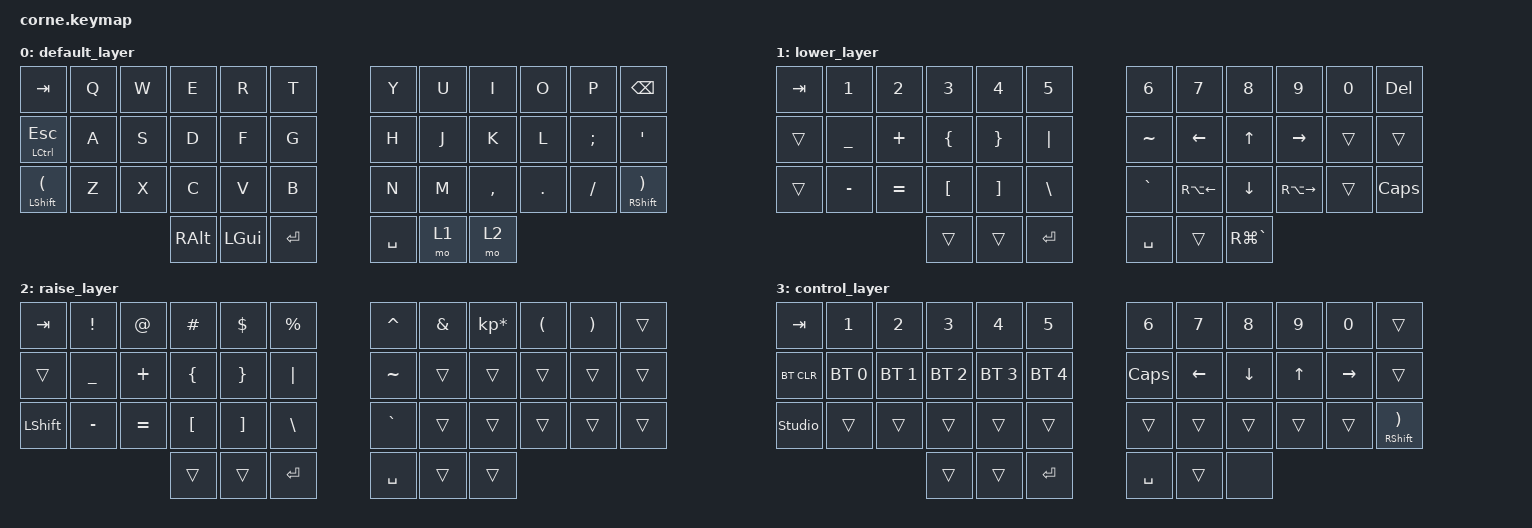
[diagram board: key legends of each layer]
/*
 * Copyright (c) 2020 The ZMK Contributors
 *
 * SPDX-License-Identifier: MIT
 */

#include <behaviors.dtsi>
#include <dt-bindings/zmk/keys.h>
#include <dt-bindings/zmk/bt.h>

/ {
        combos {
                compatible = "zmk,combos";
                combo_l3 {
                        timeout-ms = <50>;
                        key-positions = <40 41>;
                        bindings = <&mo 3>;
                };
                combo_rsft {
                        timeout-ms = <50>;
                        key-positions = <7 19>;
                        bindings = <&kp RSHFT>;
                };
                combo_lsft {
                        timeout-ms = <50>;
                        key-positions = <4 16>;
                        bindings = <&kp LSHFT>;
                };
                combo_rgui {
                        timeout-ms = <50>;
                        key-positions = <8 20>;
                        bindings = <&kp RGUI>;
                };
                combo_lgui {
                        timeout-ms = <50>;
                        key-positions = <3 15>;
                        bindings = <&kp LGUI>;
                };
                combo_ralt {
                        timeout-ms = <50>;
                        key-positions = <9 21>;
                        bindings = <&kp RALT>;
                };
                combo_lalt {
                        timeout-ms = <50>;
                        key-positions = <2 14>;
                        bindings = <&kp LALT>;
                };
                combo_rctrl {
                        timeout-ms = <50>;
                        key-positions = <10 22>;
                        bindings = <&kp RCTRL>;
                };
                combo_lctrl {
                        timeout-ms = <50>;
                        key-positions = <1 13>;
                        bindings = <&kp LCTRL>;
                };
                combo_plus {
                        timeout-ms = <50>;
                        key-positions = <6 18>;
                        bindings = <&kp PLUS>;
                };
                combo_equal {
                        timeout-ms = <50>;
                        key-positions = <18 30>;
                        bindings = <&kp EQUAL>;
                };
                combo_under {
                        timeout-ms = <50>;
                        key-positions = <5 17>;
                        bindings = <&kp UNDER>;
                };
                combo_minus {
                        timeout-ms = <50>;
                        key-positions = <17 29>;
                        bindings = <&kp MINUS>;
                };
                combo_grave {
                        timeout-ms = <50>;
                        key-positions = <16 28>;
                        bindings = <&kp GRAVE>;
                };
                combo_pipe {
                        timeout-ms = <50>;
                        key-positions = <15 27>;
                        bindings = <&kp PIPE>;
                };
                combo_tilde {
                        timeout-ms = <50>;
                        key-positions = <19 31>;
                        bindings = <&kp TILDE>;
                };
                combo_backslash {
                        timeout-ms = <50>;
                        key-positions = <20 32>;
                        bindings = <&kp BSLH>;
                };
        };

        keymap {
                compatible = "zmk,keymap";

                default_layer {
// -----------------------------------------------------------------------------------------
// | TAB      |  Q  |  W  |  E  |  R  |  T  |     |  Y  |  U   |  I  |  O  |  P  | BKSP   |
// | CTRL,ESC |  A  |  S  |  D  |  F  |  G  |     |  H  |  J   |  K  |  L  |  ;  |  '     |
// | SHFT,(   |  Z  |  X  |  C  |  V  |  B  |     |  N  |  M   |  ,  |  .  |  /  | SHFT,) |
//                  | OPT | GUI | ENT |     | SPC | LWR | RSE  | 
                        bindings = <
   &kp TAB        &kp Q &kp W &kp E &kp R &kp T   &kp Y &kp U  &kp I     &kp O   &kp P    &kp BACKSPACE
   &mt LCTRL ESC  &kp A &kp S &kp D &kp F &kp G   &kp H &kp J  &kp K     &kp L   &kp SEMI &kp SQT
   &mt LSHFT LPAR &kp Z &kp X &kp C &kp V &kp B   &kp N &kp M  &kp COMMA &kp DOT &kp FSLH &mt RSHFT RPAR
                        &kp RALT &kp LGUI  &kp RET   &kp SPACE &mo 1 &mo 2
                        >;
                };
                lower_layer {
// -----------------------------------------------------------------------------------------
// |  TAB |  1  |  2  |  3  |  4  |  5  |   |  6  |  7   |  8      |  9    |  0  | DEL |
// |      |  _  |  +  |  {  |  }  | "|" |   |  ~  |   | CAPS| LFT  | UP      |  RGT  |     |     |
// | SHFT |  -  |  =  |  [  |  ]  |  \  |   |  `  | ALT-L| DWN     | ALT-R |     |     |
//                    |     |     | ENT |   | SPC |      | CMD+GRV |
                        bindings = <
   &kp TAB  &kp N1     &kp N2    &kp N3     &kp N4    &kp N5    &kp N6    &kp N7        &kp N8    &kp N9         &kp N0  &kp DELETE
   &trans   &kp UNDER  &kp PLUS  &kp LBRC   &kp RBRC  &kp PIPE  &kp TILDE &kp LEFT      &kp UP    &kp RIGHT      &trans  &trans
   &trans   &kp MINUS  &kp EQUAL &kp LBKT   &kp RBKT  &kp BSLH  &kp GRAVE &kp RA(LEFT)  &kp DOWN  &kp RA(RIGHT)  &trans  &kp CAPS
                         &trans   &trans    &kp RET   &kp SPACE &trans    &kp RG(GRAVE)
                        >;
                };

                raise_layer {
// -----------------------------------------------------------------------------------------
// |  TAB     |  !  |  @  |  #  |  $  |  %  |     |  ^  |  &  |  *  |  (  |  )  | DEL |
// | CTRL,ESC |  _  |  +  |  {  |  }  | "|" |     |  ~  |     |     |     |     |     |
// | SHFT     |  -  |  =  |  [  |  ]  |  \  |     |  `  |     |     |     |     |     |
//                  |     |     | ENT |     | SPC |     |     |
                        bindings = <
   &kp  TAB    &kp EXCL  &kp AT    &kp HASH &kp DLLR &kp PRCNT   &kp CARET &kp AMPS  &kp KP_MULTIPLY &kp LPAR &kp RPAR &trans
   &trans      &kp UNDER &kp PLUS  &kp LBRC &kp RBRC &kp PIPE    &kp TILDE &trans    &trans          &trans   &trans   &trans
   &kp LSHFT   &kp MINUS &kp EQUAL &kp LBKT &kp RBKT &kp BSLH    &kp GRAVE &trans    &trans          &trans   &trans   &trans
                    	          &trans &trans   &kp RET     &kp SPACE &trans    &trans
                        >;
                };

                control_layer {
// -----------------------------------------------------------------------------------------
// |  TAB |  1  |  2  |  3  |  4  |  5  |   |  6  |  7  |  8  |  9  |  0  | BKSP |
// | BTCLR| BT1 | BT2 | BT3 | BT4 | BT5 |   | CAPS| LFT | DWN |  UP | RGT |      |
// | SHFT |     |     |     |     |     |   |     |     |     |     |     |      |
//                    | GUI |     | ENT |   | SPC |     | ALT |
                        bindings = <
   &kp TAB    &kp N1       &kp N2       &kp N3       &kp N4       &kp N5         &kp N6   &kp N7   &kp N8 &kp N9    &kp N0 &trans
   &bt BT_CLR &bt BT_SEL 0 &bt BT_SEL 1 &bt BT_SEL 2 &bt BT_SEL 3 &bt BT_SEL 4   &kp CAPS &kp LEFT &kp DOWN &kp UP &kp RIGHT &trans
   &studio_unlock  &trans       &trans       &trans       &trans       &trans         &trans   &trans   &trans &trans    &trans &mt RSHFT RPAR
                          	        &trans     &trans       &kp RET        &kp SPACE  &trans   &none
                        >;
                };
        };
};
